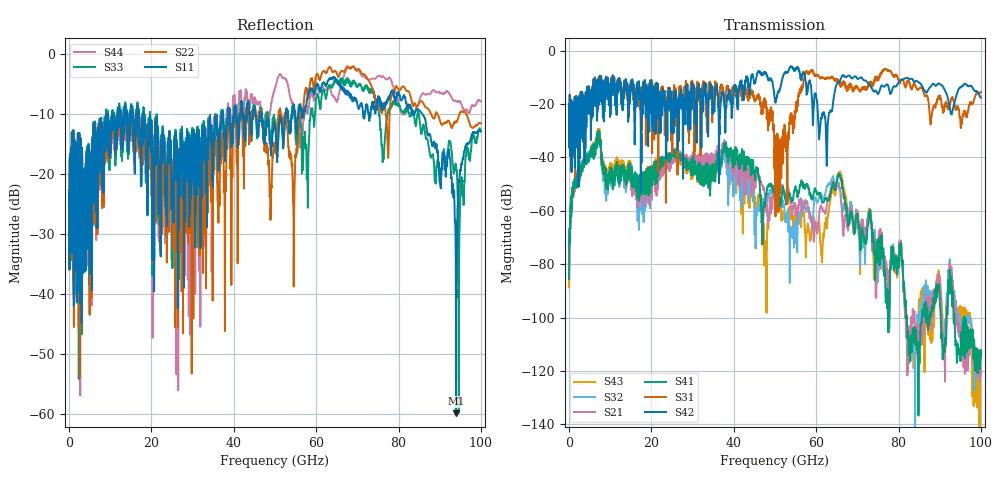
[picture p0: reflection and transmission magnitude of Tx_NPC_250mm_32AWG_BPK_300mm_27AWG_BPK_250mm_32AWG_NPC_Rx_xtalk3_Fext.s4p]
! Info: Touchstone file created by Circ.  Input file=Tx_NPC_250mm_32AWG_BPK_300mm_27AWG_BPK_250mm_32AWG_NPC_Rx.circ
# Hz S RI R 50
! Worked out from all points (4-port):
!   10000 points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, 10 MHz to 100 GHz, reference 50 ohm
!   strongest paths, dB at 10 MHz, 25.01 GHz, 50.01 GHz, 75.01 GHz, 100 GHz:
!     S42: -30.6, -19.4, -18.5, -16.3, -17.6
!     S31: -30.6, -21.7, -37.5, -10.4, -15.5
!     S41: -85.4, -38.3, -53.8, -78.6, -114.8
!     S21: -81.8, -39.9, -50.9, -75.5, -120.7
!     S32: -80.7, -38.0, -52.8, -85.6, -116.6
!     S43: -88.6, -39.2, -56.0, -81.0, -116.6
!   lowest |S11| = -59.8 dB at 93.97 GHz (marker M1), VSWR 1.00, Z = 49.9 + j0.00824 ohm
!   |S11| at or under -10 dB: start of sweep to 8.976 GHz; 18.11 GHz to 37.01 GHz (18.9 GHz wide, 68.6 % of centre); 85.77 GHz to end of sweep (the widest 3 of 50)
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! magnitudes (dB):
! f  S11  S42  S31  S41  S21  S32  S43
! 10 MHz  -25.4  -30.6  -30.6  -85.4  -81.8  -80.7  -88.6
! 7.03 GHz  -14.8  -11.7  -10.9  -32.2  -32.6  -32.5  -31.3
! 37.71 GHz  -12.7  -20.7  -18.8  -34.7  -33.7  -36.7  -37.1
! 47.68 GHz  -12.8  -8.7  -21.2  -55.5  -54.2  -56.6  -74.7
! 64.22 GHz  -4.1  -18.2  -10.2  -49.8  -49.0  -47.6  -51.1
! 93.97 GHz  -59.8  -17.1  -21.6  -109.2  -99.2  -97.3  -98.0
! 100 GHz  -12.9  -17.6  -15.5  -114.8  -120.7  -116.6  -116.6
